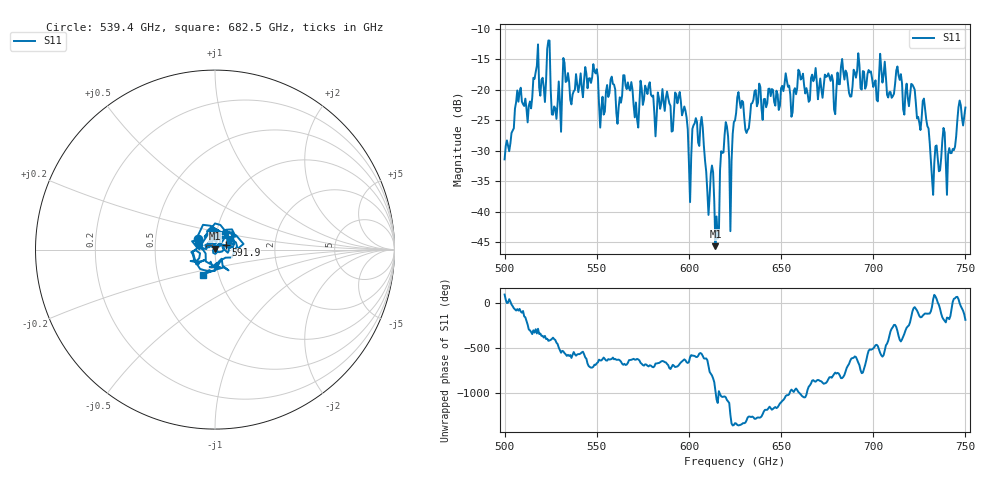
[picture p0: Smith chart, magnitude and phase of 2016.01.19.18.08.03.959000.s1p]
!Created with skrf (http://scikit-rf.org).
# GHz S RI R 50.0
!freq ReS11 ImS11
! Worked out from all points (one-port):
!   401 points, 500 GHz to 750 GHz, reference 50 ohm
!   lowest |S11| = -45.7 dB at 614.4 GHz (marker M1), VSWR 1.01, Z = 49.9 + j0.513 ohm
!   |S11| at or under -10 dB: start of sweep to end of sweep
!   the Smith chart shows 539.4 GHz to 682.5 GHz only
!   S11 on the Smith chart (normalised r, x): 539.4 GHz: 0.82, +0.10; 591.9 GHz: 1.13, +0.06; 682.5 GHz: 0.84, -0.24
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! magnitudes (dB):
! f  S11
! 500 GHz  -31.4
! 516.9 GHz  -17.1
! 520.6 GHz  -18.1
! 523.8 GHz  -11.9
! 526.9 GHz  -22.8
! 531.2 GHz  -20.0
! 539.4 GHz  -19.1
! 562.5 GHz  -21.2
! 565.6 GHz  -19.3
! 571.2 GHz  -22.1
! 591.9 GHz  -23.7
! 593.8 GHz  -22.2
! 600.6 GHz  -38.5
! 603.1 GHz  -25.5
! 607.5 GHz  -26.2
! 614.4 GHz  -45.7
! 615.6 GHz  -44.5
! 618.8 GHz  -30.3
! 622.5 GHz  -43.2
! 625 GHz  -25.1
! 656.2 GHz  -23.7
! 682.5 GHz  -16.3
! 687.5 GHz  -21.1
! 705 GHz  -18.8
! 718.8 GHz  -21.4
! 728.1 GHz  -23.1
! 732.5 GHz  -37.3
! 750 GHz  -22.9
